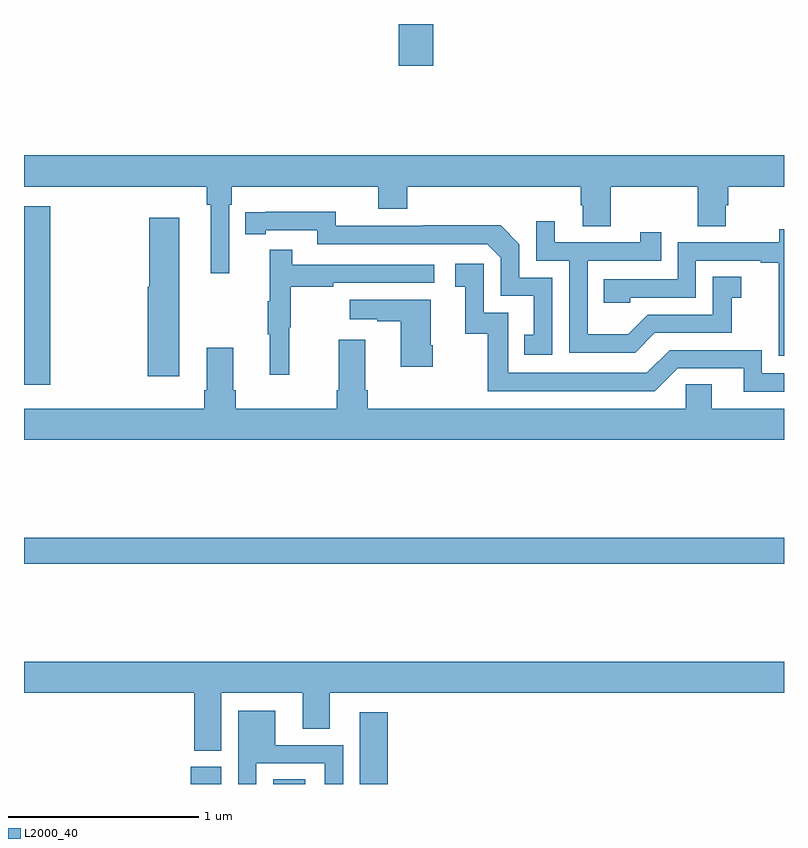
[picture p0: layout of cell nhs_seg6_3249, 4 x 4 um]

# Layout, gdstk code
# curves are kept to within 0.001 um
import gdstk
lib = gdstk.Library(unit=1e-6, precision=1e-09)
def R(c, l, rs):  # rectangles x0, y0, x1, y1
    for r in rs: c.add(gdstk.rectangle(r[:2], r[2:], *l))
def P(c, l, *ps):  # polygons
    for p in ps: c.add(gdstk.Polygon(p, *l))
L2000_40 = (2000, 40)

nhs_seg6_3249 = lib.new_cell('nhs_seg6_3249')
R(nhs_seg6_3249, L2000_40, [(301.877,969.5,302.038,969.591), (302.312,969.5,302.479,969.524), (302.768,969.5,302.915,969.877), (301,970.66,305,970.796), (301,971.601,301.139,972.541), (302.972,973.281,303.155,973.5)])
P(nhs_seg6_3249, L2000_40, [(302.079,972.548),(302.093,972.548),(302.093,972.644),(302.864,972.644),(302.864,972.527),(303.017,972.527),(303.017,972.644),(303.929,972.644),(303.929,972.546),(303.941,972.546),(303.941,972.436),(304.089,972.436),(304.089,972.644),(304.546,972.644),(304.546,972.436),(304.693,972.436),(304.693,972.546),(304.706,972.546),(304.706,972.644),(305,972.644),(305,972.808),(301,972.808),(301,972.644),(301.963,972.644),(301.963,972.548),(301.982,972.548),(301.982,972.189),(302.079,972.189)],
  [(303.78,972.165),(303.606,972.165),(303.606,972.342),(303.508,972.44),(303.1,972.44),(303.1,972.438),(302.64,972.438),(302.64,972.511),(302.164,972.51),(302.164,972.394),(302.272,972.394),(302.272,972.414),(302.544,972.414),(302.544,972.342),(303.438,972.342),(303.51,972.27),(303.51,972.069),(303.683,972.069),(303.683,971.865),(303.634,971.865),(303.634,971.76),(303.78,971.76)],
  [(301.816,972.481),(301.658,972.481),(301.658,972.117),(301.652,972.117),(301.652,971.646),(301.816,971.646)],
  [(304.321,971.874),(304.725,971.874),(304.725,972.059),(304.774,972.059),(304.774,972.169),(304.626,972.169),(304.626,971.97),(304.284,971.97),(304.18,971.866),(303.966,971.866),(303.966,972.255),(304.355,972.255),(304.355,972.403),(304.244,972.403),(304.244,972.351),(303.793,972.351),(303.793,972.463),(303.696,972.463),(303.696,972.255),(303.87,972.255),(303.87,971.769),(304.216,971.769)],
  [(305,972.42),(304.974,972.42),(304.974,972.351),(304.44,972.351),(304.44,972.156),(304.051,972.156),(304.051,972.033),(304.191,972.033),(304.191,972.06),(304.536,972.06),(304.536,972.255),(304.877,972.255),(304.877,972.243),(304.973,972.243),(304.973,971.959),(304.972,971.959),(304.972,971.753),(305,971.753)],
  [(302.396,971.904),(302.404,971.904),(302.404,972.118),(302.627,972.118),(302.627,972.138),(303.16,972.138),(303.16,972.234),(302.411,972.234),(302.411,972.313),(302.294,972.313),(302.294,972.041),(302.283,972.041),(302.283,971.867),(302.294,971.867),(302.294,971.655),(302.396,971.655)],
  [(305,971.661),(304.884,971.661),(304.884,971.784),(304.398,971.784),(304.278,971.664),(303.549,971.664),(303.549,971.979),(303.42,971.979),(303.42,972.238),(303.27,972.238),(303.27,972.117),(303.323,972.117),(303.323,971.871),(303.441,971.871),(303.441,971.568),(304.32,971.568),(304.44,971.688),(304.787,971.688),(304.787,971.565),(305,971.565)],
  [(303.15,971.809),(303.142,971.809),(303.142,972.049),(302.715,972.049),(302.715,971.945),(302.858,971.945),(302.858,971.935),(302.984,971.935),(302.984,971.697),(303.15,971.697)],
  [(305,971.476),(304.621,971.476),(304.621,971.603),(304.482,971.603),(304.482,971.476),(302.81,971.476),(302.81,971.572),(302.797,971.572),(302.797,971.839),(302.657,971.839),(302.657,971.572),(302.645,971.572),(302.645,971.476),(302.114,971.476),(302.114,971.572),(302.101,971.572),(302.101,971.797),(301.961,971.797),(301.961,971.572),(301.949,971.572),(301.949,971.476),(301,971.476),(301,971.312),(305,971.312)],
  [(302.038,969.98),(302.468,969.98),(302.468,969.79),(302.608,969.79),(302.608,969.98),(305,969.98),(305,970.144),(301,970.144),(301,969.98),(301.895,969.98),(301.895,969.676),(302.038,969.676)],
  [(302.223,969.609),(302.583,969.609),(302.583,969.5),(302.679,969.5),(302.679,969.705),(302.323,969.705),(302.323,969.886),(302.127,969.886),(302.127,969.5),(302.223,969.5)])

lib.write_gds('nhs_seg6_3249.gds')
